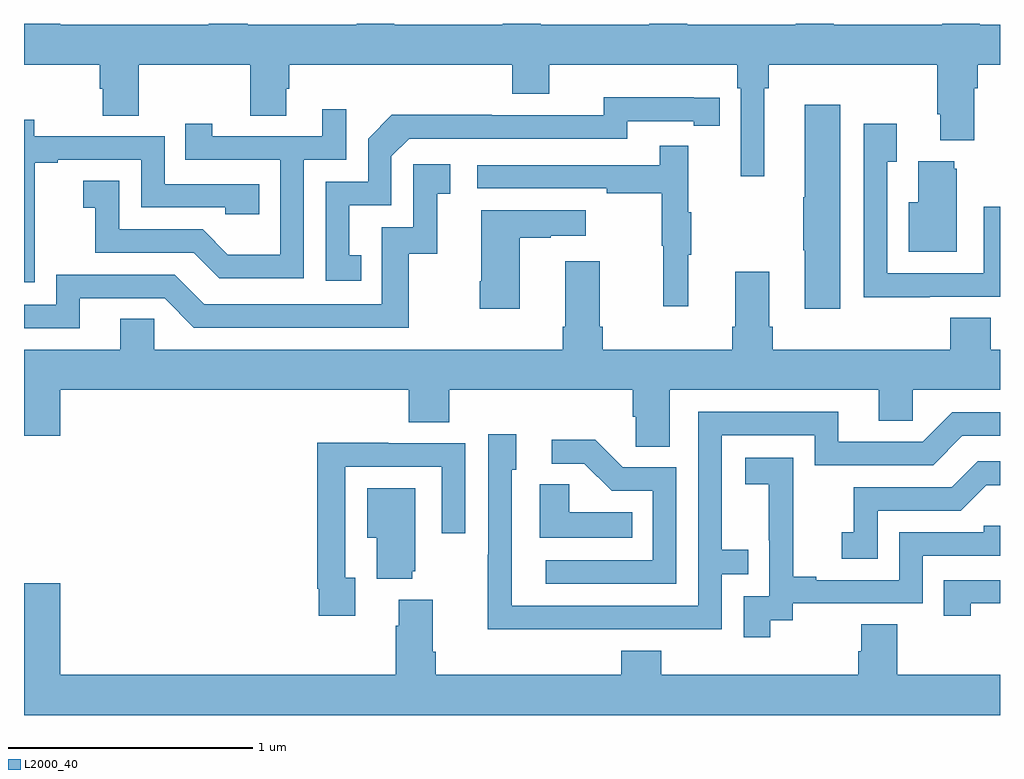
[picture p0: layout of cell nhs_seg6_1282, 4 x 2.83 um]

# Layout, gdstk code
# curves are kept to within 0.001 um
import gdstk
lib = gdstk.Library(unit=1e-6, precision=1e-09)
def P(c, l, *ps):  # polygons
    for p in ps: c.add(gdstk.Polygon(p, *l))
L2000_40 = (2000, 40)

nhs_seg6_1282 = lib.new_cell('nhs_seg6_1282')
P(nhs_seg6_1282, L2000_40, [(192.034,951.236),(192.053,951.236),(192.053,951.332),(192.743,951.332),(192.743,951.13),(192.755,951.13),(192.755,951.023),(192.895,951.023),(192.895,951.236),(192.908,951.236),(192.908,951.332),(193,951.332),(193,951.496),(192.918,951.496),(192.918,951.5),(192.763,951.5),(192.763,951.496),(192.318,951.496),(192.318,951.5),(192.163,951.5),(192.163,951.496),(191.718,951.496),(191.718,951.5),(191.563,951.5),(191.563,951.496),(191.118,951.496),(191.118,951.5),(190.963,951.5),(190.963,951.496),(190.518,951.496),(190.518,951.5),(190.363,951.5),(190.363,951.496),(189.918,951.496),(189.918,951.5),(189.758,951.5),(189.758,951.496),(189.148,951.496),(189.148,951.5),(189,951.5),(189,951.332),(189.311,951.332),(189.311,951.234),(189.323,951.234),(189.323,951.124),(189.471,951.124),(189.471,951.332),(189.928,951.332),(189.928,951.124),(190.075,951.124),(190.075,951.234),(190.088,951.234),(190.088,951.332),(191,951.332),(191,951.215),(191.152,951.215),(191.152,951.332),(191.924,951.332),(191.924,951.236),(191.937,951.236),(191.937,950.877),(192.034,950.877)],
  [(190.382,950.553),(190.333,950.553),(190.333,950.757),(190.506,950.757),(190.506,950.958),(190.578,951.03),(191.472,951.03),(191.472,951.102),(191.744,951.102),(191.744,951.082),(191.852,951.082),(191.852,951.198),(191.376,951.199),(191.376,951.126),(190.916,951.126),(190.916,951.128),(190.508,951.128),(190.41,951.03),(190.41,950.853),(190.236,950.853),(190.236,950.448),(190.382,950.448)],
  [(192.346,951.169),(192.2,951.169),(192.2,950.789),(192.193,950.789),(192.193,950.572),(192.2,950.572),(192.2,950.334),(192.346,950.334)],
  [(190.146,950.943),(190.32,950.943),(190.32,951.151),(190.223,951.151),(190.223,951.039),(189.772,951.039),(189.772,951.091),(189.661,951.091),(189.661,950.943),(190.05,950.943),(190.05,950.554),(189.836,950.554),(189.732,950.658),(189.39,950.658),(189.39,950.857),(189.243,950.857),(189.243,950.747),(189.292,950.747),(189.292,950.562),(189.695,950.562),(189.8,950.457),(190.146,950.457)],
  [(189.045,950.647),(189.044,950.647),(189.044,950.931),(189.139,950.931),(189.139,950.943),(189.48,950.943),(189.48,950.748),(189.825,950.748),(189.825,950.721),(189.965,950.721),(189.965,950.844),(189.576,950.844),(189.576,951.039),(189.042,951.039),(189.042,951.108),(189,951.108),(189,950.441),(189.045,950.441)],
  [(192.713,950.382),(193,950.382),(193,950.752),(192.933,950.752),(192.933,950.478),(192.537,950.478),(192.537,950.935),(192.577,950.935),(192.577,951.091),(192.441,951.091),(192.441,950.381),(192.713,950.381)],
  [(191.723,950.555),(191.734,950.555),(191.734,950.729),(191.723,950.729),(191.723,951.001),(191.605,951.001),(191.605,950.922),(190.857,950.922),(190.857,950.826),(191.389,950.826),(191.389,950.806),(191.613,950.806),(191.613,950.592),(191.62,950.592),(191.62,950.343),(191.723,950.343)],
  [(192.823,950.907),(192.812,950.907),(192.812,950.938),(192.665,950.938),(192.665,950.77),(192.626,950.77),(192.626,950.567),(192.823,950.567)],
  [(189.229,950.376),(189.576,950.376),(189.696,950.256),(190.576,950.256),(190.576,950.559),(190.694,950.559),(190.694,950.805),(190.747,950.805),(190.747,950.926),(190.596,950.926),(190.596,950.667),(190.467,950.667),(190.467,950.352),(189.738,950.352),(189.618,950.472),(189.132,950.472),(189.132,950.349),(189,950.349),(189,950.253),(189.229,950.253)],
  [(191.032,950.623),(191.159,950.623),(191.159,950.633),(191.302,950.633),(191.302,950.737),(190.874,950.737),(190.874,950.446),(190.867,950.446),(190.867,950.334),(191.032,950.334)],
  [(191.647,950),(192.503,950),(192.503,949.873),(192.642,949.873),(192.642,950),(193,950),(193,950.164),(192.962,950.164),(192.962,950.297),(192.797,950.297),(192.797,950.164),(192.068,950.164),(192.068,950.26),(192.055,950.26),(192.055,950.485),(191.915,950.485),(191.915,950.26),(191.903,950.26),(191.903,950.164),(191.372,950.164),(191.372,950.26),(191.359,950.26),(191.359,950.527),(191.219,950.527),(191.219,950.26),(191.207,950.26),(191.207,950.164),(189.534,950.164),(189.534,950.291),(189.395,950.291),(189.395,950.164),(189,950.164),(189,949.812),(189.148,949.812),(189.148,950),(190.577,950),(190.577,949.867),(190.742,949.867),(190.742,950),(191.495,950),(191.495,949.891),(191.508,949.891),(191.508,949.768),(191.647,949.768)],
  [(191.363,949.02),(191.859,949.02),(191.859,949.245),(191.969,949.245),(191.969,949.346),(191.859,949.346),(191.859,949.815),(192.24,949.815),(192.24,949.692),(192.726,949.692),(192.846,949.812),(193,949.812),(193,949.908),(192.804,949.908),(192.684,949.788),(192.337,949.788),(192.337,949.911),(191.763,949.911),(191.763,949.116),(190.998,949.116),(190.998,949.674),(191.017,949.674),(191.017,949.819),(190.902,949.819),(190.902,949.325),(190.9,949.325),(190.9,949.019)],
  [(191.673,949.683),(191.454,949.683),(191.341,949.796),(191.163,949.796),(191.163,949.698),(191.297,949.698),(191.408,949.587),(191.577,949.587),(191.577,949.302),(191.139,949.302),(191.139,949.206),(191.673,949.206)],
  [(190.357,949.23),(190.317,949.23),(190.317,949.686),(190.713,949.686),(190.713,949.413),(190.809,949.413),(190.809,949.782),(190.493,949.782),(190.493,949.784),(190.201,949.784),(190.201,949.186),(190.209,949.186),(190.209,949.074),(190.357,949.074)],
  [(192.058,949.057),(192.15,949.057),(192.15,949.125),(192.684,949.125),(192.684,949.32),(193,949.32),(193,949.443),(192.933,949.443),(192.933,949.416),(192.588,949.416),(192.588,949.221),(192.247,949.221),(192.247,949.234),(192.152,949.234),(192.152,949.517),(192.153,949.517),(192.153,949.723),(191.955,949.723),(191.955,949.613),(192.053,949.613),(192.053,949.385),(192.054,949.385),(192.054,949.155),(191.949,949.155),(191.949,948.987),(192.058,948.987)],
  [(192.498,949.506),(192.84,949.506),(192.944,949.61),(193,949.61),(193,949.707),(192.908,949.707),(192.803,949.602),(192.4,949.602),(192.4,949.417),(192.351,949.417),(192.351,949.308),(192.498,949.308)],
  [(191.492,949.498),(191.235,949.498),(191.235,949.613),(191.114,949.613),(191.114,949.394),(191.492,949.394)],
  [(190.592,949.257),(190.603,949.257),(190.603,949.597),(190.406,949.597),(190.406,949.394),(190.445,949.394),(190.445,949.226),(190.592,949.226)],
  [(192.88,949.125),(193,949.125),(193,949.221),(192.769,949.221),(192.769,949.074),(192.88,949.074)],
  [(193,948.832),(192.579,948.832),(192.579,949.04),(192.431,949.04),(192.431,948.93),(192.419,948.93),(192.419,948.832),(191.612,948.832),(191.612,948.931),(191.447,948.931),(191.447,948.832),(190.688,948.832),(190.688,948.928),(190.675,948.928),(190.675,949.141),(190.535,949.141),(190.535,949.034),(190.523,949.034),(190.523,948.832),(189.148,948.832),(189.148,949.207),(189,949.207),(189,948.668),(193,948.668)])

lib.write_gds('nhs_seg6_1282.gds')
